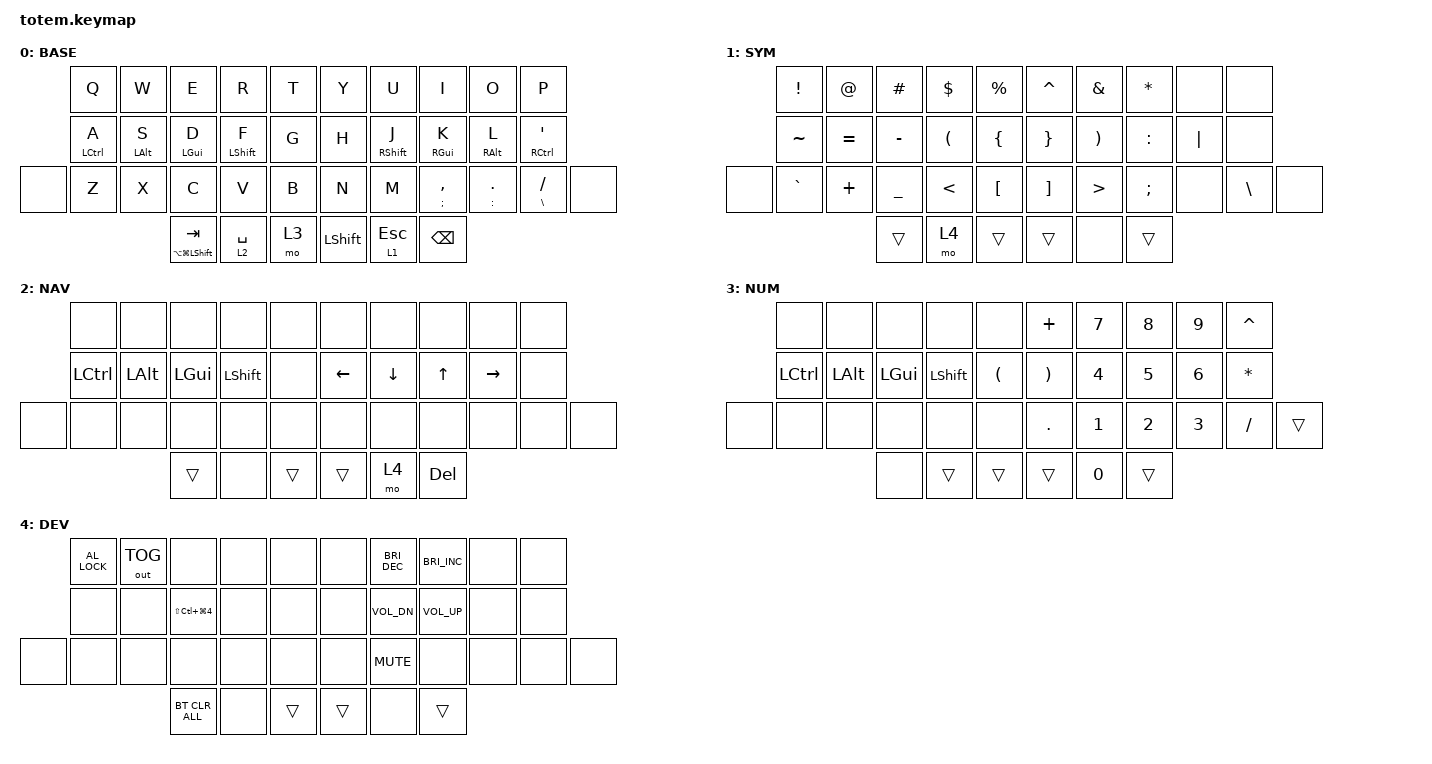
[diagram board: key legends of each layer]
#include <behaviors.dtsi>
#include <dt-bindings/zmk/bt.h>
#include <dt-bindings/zmk/keys.h>
#include <dt-bindings/zmk/outputs.h>

#define BASE 0
#define SYM  1
#define NUM  2
#define NAV  3
#define DEV  4
#define MULT KP_MULTIPLY
#define MEH LG(LA(LSHIFT))

/ {
    behaviors {
        hr: home-row-hold-tap {
            compatible = "zmk,behavior-hold-tap";
            label = "HOMEROW_MODS";
            flavor = "balanced";
            #binding-cells = <2>;
            tapping-term-ms = <280>;
            quick-tap-ms = <280>; // repeat on tap-into-hold
            require-prior-idle-ms = <150>;
            bindings = <&kp>, <&kp>;

            // hold-trigger-key-positions = <KEYS_R THUMBS>;
            // hold-trigger-on-release; // delay positional check until key-release
        };

        ht: hold-tap {
            compatible = "zmk,behavior-hold-tap";
            label = "HOLD_TAP";
            flavor = "balanced";
            #binding-cells = <2>;
            tapping-term-ms = <280>;
            quick-tap-ms = <280>; // repeat on tap-into-hold
            bindings = <&kp>, <&kp>;

            // hold-trigger-key-positions = <KEYS_R THUMBS>;
            // hold-trigger-on-release; // delay positional check until key-release
        };

        ltq: layer-tap-hold-prefer {
            compatible = "zmk,behavior-hold-tap";
            label = "LAYER_TAP_HOLD_PREFERRED";
            flavor = "hold-preferred";
            #binding-cells = <2>;
            tapping-term-ms = <280>;
            bindings = <&mo>, <&kp>;
        };
    };

    combos {
        compatible = "zmk,combos";

        jk-enter {
            bindings = <&kp ENTER>;
            key-positions = <16 17>;
        };
    };

    keymap {
        compatible = "zmk,keymap";

        base_layer {
            label = "BASE";
            bindings = <
       &kp Q        &kp W       &kp E                   &kp R        &kp T    &kp Y      &kp U        &kp I           &kp O          &kp P
       &hr LCTRL A  &hr LALT S  &hr LGUI D              &hr LSHFT F  &kp G    &kp H      &hr RSHFT J  &hr RGUI K      &hr RALT L     &hr RCTRL SQT
&none  &kp Z        &kp X       &kp C                   &kp V        &kp B    &kp N      &kp M        &ht SEMI COMMA  &ht COLON DOT  &ht BSLH FSLH  &none
                                &mt LA(LG(LSHIFT)) TAB  &lt 2 SPACE  &mo 3    &kp LSHFT  &ltq 1 ESC   &kp BSPC
            >;
        };

        sym_layer {
            label = "SYM";
            bindings = <
       &kp EXCL   &kp AT     &kp HASH   &kp DLLR       &kp PRCNT         &kp CARET        &kp AMPS          &kp ASTERISK  &none     &none
       &kp TILDE  &kp EQUAL  &kp MINUS  &kp LPAR       &kp LEFT_BRACE    &kp RIGHT_BRACE  &kp RPAR          &kp COLON     &kp PIPE  &none
&none  &kp GRAVE  &kp PLUS   &kp UNDER  &kp LESS_THAN  &kp LBKT          &kp RBKT         &kp GREATER_THAN  &kp SEMI      &none     &kp BSLH  &none
                             &trans     &mo 4          &trans            &trans           &none             &trans
            >;
        };

        nav_layer {
            label = "NAV";
            bindings = <
       &none      &none     &none     &none      &none     &none     &none     &none    &none      &none
       &kp LCTRL  &kp LALT  &kp LGUI  &kp LSHFT  &none     &kp LEFT  &kp DOWN  &kp UP   &kp RIGHT  &none
&none  &none      &none     &none     &none      &none     &none     &none     &none    &none      &none  &none
                            &trans    &none      &trans    &trans    &mo 4     &kp DEL
            >;
        };

        num_layer {
            label = "NUM";
            bindings = <
       &none      &none     &none     &none      &none                   &kp PLUS               &kp N7  &kp N8  &kp N9  &kp CARET
       &kp LCTRL  &kp LALT  &kp LGUI  &kp LSHFT  &kp LEFT_PARENTHESIS    &kp RIGHT_PARENTHESIS  &kp N4  &kp N5  &kp N6  &kp ASTERISK
&none  &none      &none     &none     &none      &none                   &kp DOT                &kp N1  &kp N2  &kp N3  &kp SLASH     &trans
                            &none     &trans     &trans                  &trans                 &kp N0  &trans
            >;
        };

        device_layer {
            label = "DEV";
            bindings = <
       &kp C_AL_LOCK  &out OUT_TOG  &none                     &none  &none     &none   &kp C_BRIGHTNESS_DEC  &kp C_BRIGHTNESS_INC  &none  &none
       &none          &none         &kp LS(LC(LG(NUMBER_4)))  &none  &none     &none   &kp K_VOL_DN          &kp K_VOLUME_UP       &none  &none
&none  &none          &none         &none                     &none  &none     &none   &kp K_MUTE            &none                 &none  &none  &none
                                    &bt BT_CLR_ALL            &none  &trans    &trans  &none                 &trans
            >;
        };
    };
};
